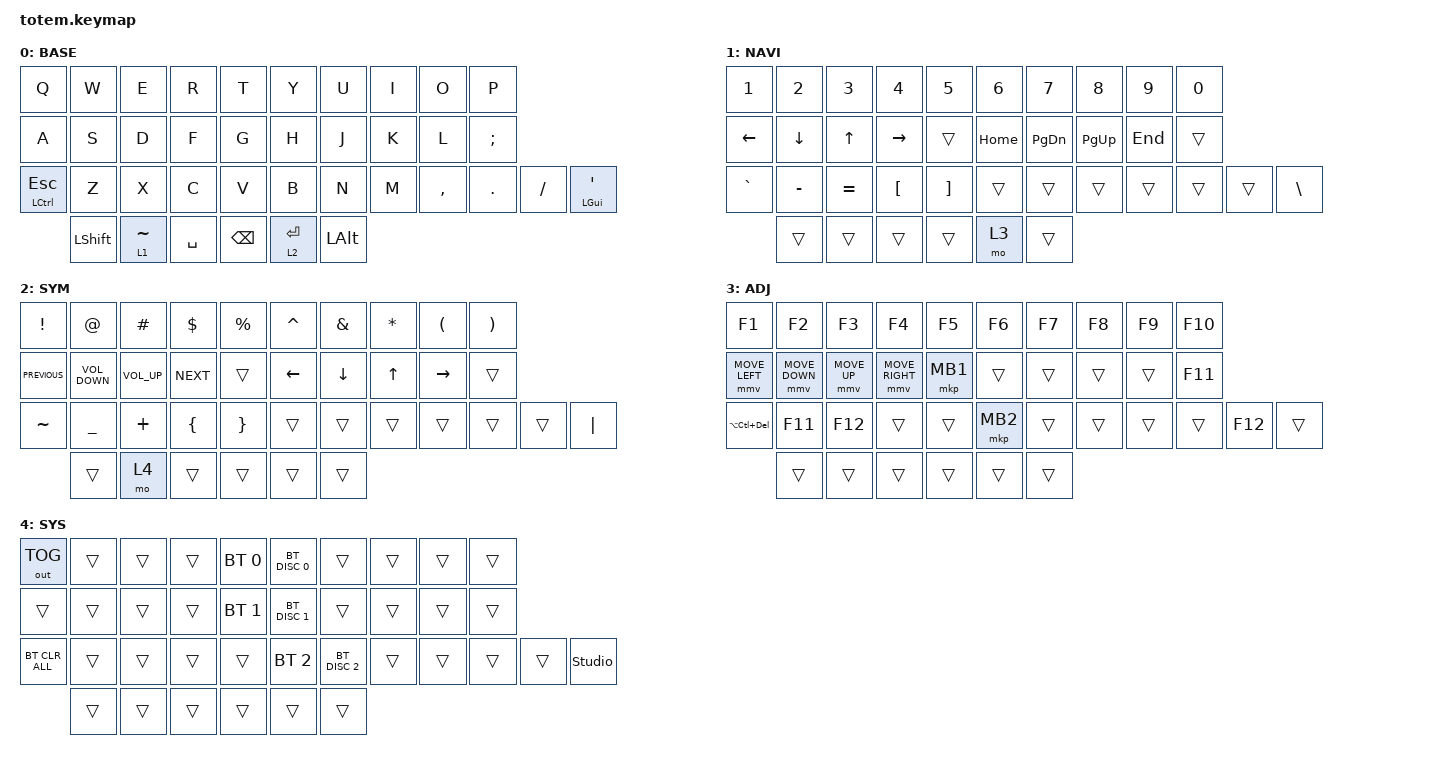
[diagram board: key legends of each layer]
//
//                                                        ▀▀▀▀▀     ▀▀▀▀▀          ▀▀█▀▀
//                                                        ▄▀▀▀▄  ▄  ▄▀▀▀▄  ▄  ▄▀▀▀▄  █  ▄▀▀▀▄
//                                                        █   █  █  █   █  █  █   █  █  █   █
//                                                         ▀▀▀   █   ▀▀▀   █   ▀▀▀   ▀   ▀▀▀
//                                                               █      ▄▄▄█▄▄▄    █   █  
//                                                               ▀      █  █  █     █▄█
//                                                             ▀▀▀▀▀    █  █  █      ▀
//                                                                      ▀  ▀  ▀
//
// ▄▄▄▄▄▄▄▄▄▄▄▄▄▄▄▄▄▄▄▄▄▄▄▄▄▄▄▄▄▄▄▄▄▄▄▄▄▄▄▄▄▄▄▄▄▄▄▄▄▄▄▄▄▄▄▄▄▄▄▄▄▄▄▄▄▄▄▄▄▄▄▄▄▄▄▄▄▄▄▄▄▄▄▄▄▄▄▄▄▄▄▄▄▄▄▄▄▄▄▄▄▄▄▄▄▄▄▄▄▄▄▄▄▄▄▄▄▄▄▄▄▄▄▄▄▄▄▄▄▄▄▄▄▄▄▄▄▄▄▄▄▄▄▄▄▄▄▄▄

#include <behaviors.dtsi>
#include <dt-bindings/zmk/bt.h>
#include <dt-bindings/zmk/keys.h>
#include <dt-bindings/zmk/outputs.h>
#include <dt-bindings/zmk/pointing.h>

#define BASE 0
#define NAV  1
#define SYM  2
#define ADJ  3
#define TVP1 4
#define TVP2 5

&mt {
    quick-tap-ms = <150>;
    global-quick-tap;
    flavor = "tap-preferred";
    tapping-term-ms = <170>;
};

/ {
    combos {
        compatible = "zmk,combos";

        combo_esc {
            timeout-ms = <60>;
            key-positions = <0 1>;
            bindings = <&kp TAB>;
            require-prior-idle-ms = <120>;
        };

        dash {
            bindings = <&kp MINUS>;
            key-positions = <19 31>;
            timeout-ms = <70>;
        };

        tilde_combo {
            bindings = <&kp TILDE>;
            key-positions = <0 20>;
            timeout-ms = <60>;
            require-prior-idle-ms = <100>;
        };

        enter_combo {
            bindings = <&kp ENTER>;
            key-positions = <13 12 11>;
            timeout-ms = <70>;
            require-prior-idle-ms = <100>;
        };

        enter_right_combo {
            bindings = <&kp ENTER>;
            key-positions = <16 18 17>;
            timeout-ms = <70>;
            require-prior-idle-ms = <100>;
        };

        russian_letter_ {
            bindings = <&kp RIGHT_BRACKET>;
            key-positions = <8 9>;
            timeout-ms = <20>;
            require-prior-idle-ms = <100>;
        };

        russian_letter_x {
            bindings = <&kp LEFT_BRACKET>;
            key-positions = <8 7>;
            require-prior-idle-ms = <100>;
            timeout-ms = <20>;
        };
    };

    behaviors {
        mt_left: mt_left {
            compatible = "zmk,behavior-hold-tap";
            label = "MT_LEFT";
            bindings = <&kp>, <&kp>;

            #binding-cells = <2>;
            tapping-term-ms = <220>;
            quick-tap-ms = <170>;
            flavor = "balanced";
            hold-trigger-key-positions = <26 27 16 15 5 6 7 5 6 7 8 9 15 16 17 18 19 26 27 28 29 31 5 6 7 8 9 15 16 17 18 19 26 27 28 29 30 31 35 36 37 32 33 34>;
            require-prior-idle-ms = <150>;
            hold-trigger-on-release;
        };

        mt_right: mt_right {
            compatible = "zmk,behavior-hold-tap";
            label = "MT_RIGHT";
            bindings = <&kp>, <&kp>;

            #binding-cells = <2>;
            tapping-term-ms = <200>;
            quick-tap-ms = <170>;
            flavor = "balanced";
            require-prior-idle-ms = <50>;
            hold-trigger-on-release;
            hold-trigger-key-positions = <0 1 4 10 11 12 13 14 20 21 22 23 24 25 2 35 36 37 3 32 33 34>;
        };

        mt_shift_left: mt_shift_left {
            compatible = "zmk,behavior-hold-tap";
            label = "MT_SHIFT_LEFT";
            bindings = <&kp>, <&kp>;

            #binding-cells = <2>;
            tapping-term-ms = <175>;
            quick-tap-ms = <175>;
            flavor = "tap-preferred";
            hold-trigger-key-positions = <19 26 27 29 30 31 36 37 35 36 32 33 34 5 6 7 8 9 15 16 17 18 19 26 27 28 29 31>;
            require-prior-idle-ms = <20>;
        };

        mt_shift_right: mt_shift_right {
            compatible = "zmk,behavior-hold-tap";
            label = "MT_SHIFT_RIGHT";
            bindings = <&kp>, <&kp>;

            #binding-cells = <2>;
            tapping-term-ms = <175>;
            quick-tap-ms = <175>;
            flavor = "tap-preferred";
            hold-trigger-key-positions = <0 1 2 3 4 10 11 12 13 14 20 21 22 23 24 25 32 33 34 35 36 37>;
            require-prior-idle-ms = <20>;
        };

        hold_sticky: hold_sticky {
            compatible = "zmk,behavior-hold-tap";
            label = "HOLD_STICKY";
            bindings = <&kp>, <&sk>;

            #binding-cells = <2>;
            flavor = "hold-preferred";
            tapping-term-ms = <150>;
            quick-tap-ms = <220>;
        };

        mt_all: mt_all {
            compatible = "zmk,behavior-hold-tap";
            label = "MT_ALL";
            bindings = <&kp>, <&kp>;

            #binding-cells = <2>;
            tapping-term-ms = <175>;
            quick-tap-ms = <175>;
            flavor = "balanced";
            require-prior-idle-ms = <35>;
            hold-trigger-on-release;
        };
    };

    keymap {
        compatible = "zmk,keymap";

        // ▄▄▄▄▄▄▄▄▄▄▄▄▄▄▄▄▄▄▄▄▄▄▄▄▄▄▄▄▄▄▄▄▄▄▄▄▄▄▄▄▄▄▄▄▄▄▄▄▄▄▄▄▄▄▄▄▄▄▄▄▄▄▄▄▄▄▄▄▄▄▄▄▄▄▄▄▄▄▄▄▄▄▄▄▄▄▄▄▄▄▄▄▄▄▄▄▄▄▄▄▄▄▄▄▄▄▄▄▄▄▄▄▄▄▄▄▄▄▄▄▄▄▄▄▄▄▄▄▄▄▄▄▄▄▄▄▄▄▄▄▄▄▄▄▄▄▄▄▄

        base_layer {
            // ┏━━━━━━━━━━━━━━━━━━━━━━━━━━━━━━━━━━━━━━━┓

            label = "BASE";

            // ┗━━━━━━━━━━━━━━━━━━━━━━━━━━━━━━━━━━━━━━━┛
            //             ┏━━━━━━━━━━━┳━━━━━━━━━━━┳━━━━━━━━━━━┳━━━━━━━━━━━┳━━━━━━━━━━━┓   ┏━━━━━━━━━━━┳━━━━━━━━━━━┳━━━━━━━━━━━┳━━━━━━━━━━━┳━━━━━━━━━━━┓
            //             ┃     Q     ┃     W     ┃     E     ┃     R     ┃     T     ┃   ┃     Y     ┃     U     ┃     I     ┃     O     ┃     P     ┃
            //             ┣━━━━━━━━━━━╋━━━━━━━━━━━╋━━━━━━━━━━━╋━━━━━━━━━━━╋━━━━━━━━━━━┫   ┣━━━━━━━━━━━╋━━━━━━━━━━━╋━━━━━━━━━━━╋━━━━━━━━━━━╋━━━━━━━━━━━┫
            //             ┃     A     ┃     S     ┃     D     ┃     F     ┃     G     ┃   ┃     H     ┃     J     ┃     K     ┃     L     ┃     ;     ┃
            // ┏━━━━━━━━━━━╋━━━━━━━━━━━╋━━━━━━━━━━━╋━━━━━━━━━━━╋━━━━━━━━━━━╋━━━━━━━━━━━┫   ┣━━━━━━━━━━━╋━━━━━━━━━━━╋━━━━━━━━━━━╋━━━━━━━━━━━╋━━━━━━━━━━━╋━━━━━━━━━━━┓
            // ┃ ESC/CTRL  ┃   GUI/Z   ┃     X     ┃     C     ┃     V     ┃     B     ┃   ┃     N     ┃     M     ┃     ,     ┃     .     ┃     /     ┃     '     ┃
            // ┗━━━━━━━━━━━┻━━━━━━━━━━━┻━━━━━━━━━━━╋━━━━━━━━━━━╋━━━━━━━━━━━╋━━━━━━━━━━━┫   ┣━━━━━━━━━━━╋━━━━━━━━━━━╋━━━━━━━━━━━╋━━━━━━━━━━━┻━━━━━━━━━━━┻━━━━━━━━━━━┛
            //                                     ┃   SHIFT   ┃  LAYER1/~ ┃   SPACE   ┃   ┃   BSPC    ┃LAYER2/ENT ┃    ALT    ┃
            //                                     ┗━━━━━━━━━━━┻━━━━━━━━━━━┻━━━━━━━━━━━┛   ┗━━━━━━━━━━━┻━━━━━━━━━━━┻━━━━━━━━━━━┛

            bindings = <
                &kp Q                        &kp W            &kp E            &kp R            &kp T            &kp Y            &kp U            &kp I            &kp O            &kp P
                &kp A                        &kp S            &kp D            &kp F            &kp G            &kp H            &kp J            &kp K            &kp L            &kp SEMICOLON
                &mt_all LEFT_CONTROL ESCAPE  &kp Z            &kp X            &kp C            &kp V            &kp B            &kp N            &kp M            &kp COMMA        &kp DOT          &kp FSLH          &mt_left LEFT_GUI SQT
                                             &kp LEFT_SHIFT   &lt 1 TILDE     &kp SPACE        &kp BACKSPACE    &lt 2 ENTER       &kp LEFT_ALT
            >;
        };

        // ▄▄▄▄▄▄▄▄▄▄▄▄▄▄▄▄▄▄▄▄▄▄▄▄▄▄▄▄▄▄▄▄▄▄▄▄▄▄▄▄▄▄▄▄▄▄▄▄▄▄▄▄▄▄▄▄▄▄▄▄▄▄▄▄▄▄▄▄▄▄▄▄▄▄▄▄▄▄▄▄▄▄▄▄▄▄▄▄▄▄▄▄▄▄▄▄▄▄▄▄▄▄▄▄▄▄▄▄▄▄▄▄▄▄▄▄▄▄▄▄▄▄▄▄▄▄▄▄▄▄▄▄▄▄▄▄▄▄▄▄▄▄▄▄▄▄▄▄▄

        nav_layer {
            // ┏━━━━━━━━━━━━━━━━━━━━━━━━━━━━━━━━━━━━━━━┓

            label = "NAVI";

            // ┗━━━━━━━━━━━━━━━━━━━━━━━━━━━━━━━━━━━━━━━┛
            //             ┏━━━━━━━━━━━┳━━━━━━━━━━━┳━━━━━━━━━━━┳━━━━━━━━━━━┳━━━━━━━━━━━┓   ┏━━━━━━━━━━━┳━━━━━━━━━━━┳━━━━━━━━━━━┳━━━━━━━━━━━┳━━━━━━━━━━━┓
            //             ┃     1     ┃     2     ┃     3     ┃     4     ┃     5     ┃   ┃     6     ┃     7     ┃     8     ┃     9     ┃     0     ┃
            //             ┣━━━━━━━━━━━╋━━━━━━━━━━━╋━━━━━━━━━━━╋━━━━━━━━━━━╋━━━━━━━━━━━┫   ┣━━━━━━━━━━━╋━━━━━━━━━━━╋━━━━━━━━━━━╋━━━━━━━━━━━╋━━━━━━━━━━━┫
            //             ┃   LEFT    ┃   DOWN    ┃    UP     ┃   RIGHT   ┃           ┃   ┃   PREV    ┃   VOL-    ┃   VOL+    ┃   NEXT    ┃           ┃
            // ┏━━━━━━━━━━━╋━━━━━━━━━━━╋━━━━━━━━━━━╋━━━━━━━━━━━╋━━━━━━━━━━━╋━━━━━━━━━━━┫   ┣━━━━━━━━━━━╋━━━━━━━━━━━╋━━━━━━━━━━━╋━━━━━━━━━━━╋━━━━━━━━━━━╋━━━━━━━━━━━┓
            // ┃     `     ┃     -     ┃     =     ┃     [     ┃     ]     ┃           ┃   ┃           ┃           ┃           ┃           ┃           ┃     \     ┃
            // ┗━━━━━━━━━━━┻━━━━━━━━━━━┻━━━━━━━━━━━╋━━━━━━━━━━━╋━━━━━━━━━━━╋━━━━━━━━━━━┫   ┣━━━━━━━━━━━╋━━━━━━━━━━━╋━━━━━━━━━━━╋━━━━━━━━━━━┻━━━━━━━━━━━┻━━━━━━━━━━━┛
            //                                     ┃           ┃           ┃           ┃   ┃           ┃  LAYER3   ┃           ┃
            //                                     ┗━━━━━━━━━━━┻━━━━━━━━━━━┻━━━━━━━━━━━┛   ┗━━━━━━━━━━━┻━━━━━━━━━━━┻━━━━━━━━━━━┛

            bindings = <
                &kp NUMBER_1    &kp NUMBER_2    &kp NUMBER_3      &kp NUMBER_4       &kp N5            &kp NUMBER_6     &kp N7         &kp N8         &kp N9     &kp N0
                &kp LEFT_ARROW  &kp DOWN_ARROW  &kp UP            &kp RIGHT          &trans            &kp HOME         &kp PAGE_DOWN  &kp PAGE_UP   &kp END    &trans
                &kp GRAVE       &kp MINUS       &kp EQUAL         &kp LEFT_BRACKET   &kp RIGHT_BRACKET &trans           &trans         &trans        &trans     &trans    &trans  &kp BACKSLASH
                                &trans          &trans            &trans             &trans            &mo 3            &trans
            >;
        };

        // ▄▄▄▄▄▄▄▄▄▄▄▄▄▄▄▄▄▄▄▄▄▄▄▄▄▄▄▄▄▄▄▄▄▄▄▄▄▄▄▄▄▄▄▄▄▄▄▄▄▄▄▄▄▄▄▄▄▄▄▄▄▄▄▄▄▄▄▄▄▄▄▄▄▄▄▄▄▄▄▄▄▄▄▄▄▄▄▄▄▄▄▄▄▄▄▄▄▄▄▄▄▄▄▄▄▄▄▄▄▄▄▄▄▄▄▄▄▄▄▄▄▄▄▄▄▄▄▄▄▄▄▄▄▄▄▄▄▄▄▄▄▄▄▄▄▄▄▄▄

        sim_layer {
            // ┏━━━━━━━━━━━━━━━━━━━━━━━━━━━━━━━━━━━━━━━┓

            label = "SYM";

            // ┗━━━━━━━━━━━━━━━━━━━━━━━━━━━━━━━━━━━━━━━┛
            //             ┏━━━━━━━━━━━┳━━━━━━━━━━━┳━━━━━━━━━━━┳━━━━━━━━━━━┳━━━━━━━━━━━┓   ┏━━━━━━━━━━━┳━━━━━━━━━━━┳━━━━━━━━━━━┳━━━━━━━━━━━┳━━━━━━━━━━━┓
            //             ┃     !     ┃     @     ┃     #     ┃     $     ┃     %     ┃   ┃     ^     ┃     &     ┃     *     ┃     (     ┃     )     ┃
            //             ┣━━━━━━━━━━━╋━━━━━━━━━━━╋━━━━━━━━━━━╋━━━━━━━━━━━╋━━━━━━━━━━━┫   ┣━━━━━━━━━━━╋━━━━━━━━━━━╋━━━━━━━━━━━╋━━━━━━━━━━━╋━━━━━━━━━━━┫
            //             ┃   HOME    ┃  PG DOWN  ┃   PG UP   ┃    END    ┃           ┃   ┃   LEFT    ┃   DOWN    ┃    UP     ┃   RIGHT   ┃           ┃
            // ┏━━━━━━━━━━━╋━━━━━━━━━━━╋━━━━━━━━━━━╋━━━━━━━━━━━╋━━━━━━━━━━━╋━━━━━━━━━━━┫   ┣━━━━━━━━━━━╋━━━━━━━━━━━╋━━━━━━━━━━━╋━━━━━━━━━━━╋━━━━━━━━━━━╋━━━━━━━━━━━┓
            // ┃     ~     ┃     _     ┃     +     ┃     {     ┃     }     ┃           ┃   ┃           ┃           ┃           ┃           ┃           ┃     |     ┃
            // ┗━━━━━━━━━━━┻━━━━━━━━━━━┻━━━━━━━━━━━╋━━━━━━━━━━━╋━━━━━━━━━━━╋━━━━━━━━━━━┫   ┣━━━━━━━━━━━╋━━━━━━━━━━━╋━━━━━━━━━━━╋━━━━━━━━━━━┻━━━━━━━━━━━┻━━━━━━━━━━━┛
            //                                     ┃           ┃   LAYER4  ┃           ┃   ┃           ┃           ┃           ┃
            //                                     ┗━━━━━━━━━━━┻━━━━━━━━━━━┻━━━━━━━━━━━┛   ┗━━━━━━━━━━━┻━━━━━━━━━━━┻━━━━━━━━━━━┛

            bindings = <
                &kp EXCLAMATION  &kp AT_SIGN         &kp HASH        &kp DOLLAR       &kp PERCENT      &kp CARET  &kp AMPERSAND  &kp ASTERISK  &kp LEFT_PARENTHESIS  &kp RIGHT_PARENTHESIS
                &kp C_PREVIOUS   &kp C_VOLUME_DOWN   &kp C_VOLUME_UP &kp C_NEXT       &trans           &kp LEFT   &kp DOWN       &kp UP        &kp RIGHT             &trans
                &kp TILDE        &kp UNDERSCORE      &kp PLUS        &kp LEFT_BRACE   &kp RIGHT_BRACE  &trans     &trans         &trans        &trans                &trans                 &trans  &kp PIPE
                                 &trans              &mo 4           &trans           &trans           &trans     &trans
            >;
        };

        // ▄▄▄▄▄▄▄▄▄▄▄▄▄▄▄▄▄▄▄▄▄▄▄▄▄▄▄▄▄▄▄▄▄▄▄▄▄▄▄▄▄▄▄▄▄▄▄▄▄▄▄▄▄▄▄▄▄▄▄▄▄▄▄▄▄▄▄▄▄▄▄▄▄▄▄▄▄▄▄▄▄▄▄▄▄▄▄▄▄▄▄▄▄▄▄▄▄▄▄▄▄▄▄▄▄▄▄▄▄▄▄▄▄▄▄▄▄▄▄▄▄▄▄▄▄▄▄▄▄▄▄▄▄▄▄▄▄▄▄▄▄▄▄▄▄▄▄▄▄

        adjust_layer {
            // ┏━━━━━━━━━━━━━━━━━━━━━━━━━━━━━━━━━━━━━━━┓

            label = "ADJ";

            // ┗━━━━━━━━━━━━━━━━━━━━━━━━━━━━━━━━━━━━━━━┛
            //             ┏━━━━━━━━━━━┳━━━━━━━━━━━┳━━━━━━━━━━━┳━━━━━━━━━━━┳━━━━━━━━━━━┓   ┏━━━━━━━━━━━┳━━━━━━━━━━━┳━━━━━━━━━━━┳━━━━━━━━━━━┳━━━━━━━━━━━┓
            //             ┃    F1     ┃    F2     ┃    F3     ┃    F4     ┃    F5     ┃   ┃    F6     ┃    F7     ┃    F8     ┃    F9     ┃    F10    ┃
            //             ┣━━━━━━━━━━━╋━━━━━━━━━━━╋━━━━━━━━━━━╋━━━━━━━━━━━╋━━━━━━━━━━━┫   ┣━━━━━━━━━━━╋━━━━━━━━━━━╋━━━━━━━━━━━╋━━━━━━━━━━━╋━━━━━━━━━━━┫
            //             ┃  M LEFT   ┃  M DOWN   ┃   M UP    ┃  M RIGHT  ┃  M BTN1   ┃   ┃           ┃           ┃           ┃           ┃    F11    ┃
            // ┏━━━━━━━━━━━╋━━━━━━━━━━━╋━━━━━━━━━━━╋━━━━━━━━━━━╋━━━━━━━━━━━╋━━━━━━━━━━━┫   ┣━━━━━━━━━━━╋━━━━━━━━━━━╋━━━━━━━━━━━╋━━━━━━━━━━━╋━━━━━━━━━━━╋━━━━━━━━━━━┓
            // ┃ C+A+DEL   ┃    F11    ┃    F12    ┃           ┃           ┃  M BTN2   ┃   ┃           ┃           ┃           ┃           ┃    F12    ┃           ┃
            // ┗━━━━━━━━━━━┻━━━━━━━━━━━┻━━━━━━━━━━━╋━━━━━━━━━━━╋━━━━━━━━━━━╋━━━━━━━━━━━┫   ┣━━━━━━━━━━━╋━━━━━━━━━━━╋━━━━━━━━━━━╋━━━━━━━━━━━┻━━━━━━━━━━━┻━━━━━━━━━━━┛
            //                                     ┃           ┃           ┃           ┃   ┃           ┃           ┃           ┃
            //                                     ┗━━━━━━━━━━━┻━━━━━━━━━━━┻━━━━━━━━━━━┛   ┗━━━━━━━━━━━┻━━━━━━━━━━━┻━━━━━━━━━━━┛

            bindings = <
                &kp F1              &kp F2             &kp F3        &kp F4           &kp F5      &kp F6   &kp F7  &kp F8  &kp F9  &kp F10
                &mmv MOVE_LEFT      &mmv MOVE_DOWN     &mmv MOVE_UP  &mmv MOVE_RIGHT  &mkp MB1    &trans   &trans  &trans  &trans  &kp F11
                &kp LA(LC(DELETE))  &kp F11            &kp F12       &trans           &trans      &mkp MB2 &trans  &trans  &trans  &trans  &kp F12  &trans
                                    &trans             &trans        &trans           &trans      &trans   &trans
            >;
        };

        sys_layer {
            // ┏━━━━━━━━━━━━━━━━━━━━━━━━━━━━━━━━━━━━━━━┓

            label = "SYS";

            // ┗━━━━━━━━━━━━━━━━━━━━━━━━━━━━━━━━━━━━━━━┛
            //             ┏━━━━━━━━━━━┳━━━━━━━━━━━┳━━━━━━━━━━━┳━━━━━━━━━━━┳━━━━━━━━━━━┓   ┏━━━━━━━━━━━┳━━━━━━━━━━━┳━━━━━━━━━━━┳━━━━━━━━━━━┳━━━━━━━━━━━┓
            //             ┃  OUT TOG  ┃           ┃           ┃           ┃  BT SEL0  ┃   ┃ BT DISC0  ┃           ┃           ┃           ┃           ┃
            //             ┣━━━━━━━━━━━╋━━━━━━━━━━━╋━━━━━━━━━━━╋━━━━━━━━━━━╋━━━━━━━━━━━┫   ┣━━━━━━━━━━━╋━━━━━━━━━━━╋━━━━━━━━━━━╋━━━━━━━━━━━╋━━━━━━━━━━━┫
            //             ┃           ┃           ┃           ┃           ┃  BT SEL1  ┃   ┃ BT DISC1  ┃           ┃           ┃           ┃           ┃
            // ┏━━━━━━━━━━━╋━━━━━━━━━━━╋━━━━━━━━━━━╋━━━━━━━━━━━╋━━━━━━━━━━━╋━━━━━━━━━━━┫   ┣━━━━━━━━━━━╋━━━━━━━━━━━╋━━━━━━━━━━━╋━━━━━━━━━━━╋━━━━━━━━━━━╋━━━━━━━━━━━┓
            // ┃ BT CLR ALL┃           ┃           ┃           ┃           ┃  BT SEL2  ┃   ┃ BT DISC2  ┃           ┃           ┃           ┃           ┃STUDIO UNLK┃
            // ┗━━━━━━━━━━━┻━━━━━━━━━━━┻━━━━━━━━━━━╋━━━━━━━━━━━╋━━━━━━━━━━━╋━━━━━━━━━━━┫   ┣━━━━━━━━━━━╋━━━━━━━━━━━╋━━━━━━━━━━━╋━━━━━━━━━━━┻━━━━━━━━━━━┻━━━━━━━━━━━┛
            //                                     ┃           ┃           ┃           ┃   ┃           ┃           ┃           ┃
            //                                     ┗━━━━━━━━━━━┻━━━━━━━━━━━┻━━━━━━━━━━━┛   ┗━━━━━━━━━━━┻━━━━━━━━━━━┻━━━━━━━━━━━┛

            bindings = <
                &out OUT_TOG    &trans  &trans  &trans  &bt BT_SEL 0    &bt BT_DISC 0  &trans  &trans  &trans  &trans
                &trans          &trans  &trans  &trans  &bt BT_SEL 1    &bt BT_DISC 1  &trans  &trans  &trans  &trans
                &bt BT_CLR_ALL  &trans  &trans  &trans  &trans         &bt BT_SEL 2   &bt BT_DISC 2  &trans  &trans  &trans  &trans  &studio_unlock
                                &trans  &trans  &trans  &trans         &trans        &trans
            >;
        };

        // ▄▄▄▄▄▄▄▄▄▄▄▄▄▄▄▄▄▄▄▄▄▄▄▄▄▄▄▄▄▄▄▄▄▄▄▄▄▄▄▄▄▄▄▄▄▄▄▄▄▄▄▄▄▄▄▄▄▄▄▄▄▄▄▄▄▄▄▄▄▄▄▄▄▄▄▄▄▄▄▄▄▄▄▄▄▄▄▄▄▄▄▄▄▄▄▄▄▄▄▄▄▄▄▄▄▄▄▄▄▄▄▄▄▄▄▄▄▄▄▄▄▄▄▄▄▄▄▄▄▄▄▄▄▄▄▄▄▄▄▄▄▄▄▄▄▄▄▄▄
        // ▄▄▄▄▄▄▄▄▄▄▄▄▄▄▄▄▄▄▄▄▄▄▄▄▄▄▄▄▄▄▄▄▄▄▄▄▄▄▄▄▄▄▄▄▄▄▄▄▄▄▄▄▄▄▄▄▄▄▄▄▄▄▄▄▄▄▄▄▄▄▄▄▄▄▄▄▄▄▄▄▄▄▄▄▄▄▄▄▄▄▄▄▄▄▄▄▄▄▄▄▄▄▄▄▄▄▄▄▄▄▄▄▄▄▄▄▄▄▄▄▄▄▄▄▄▄▄▄▄▄▄▄▄▄▄▄▄▄▄▄▄▄▄▄▄▄▄▄▄
    };
};
